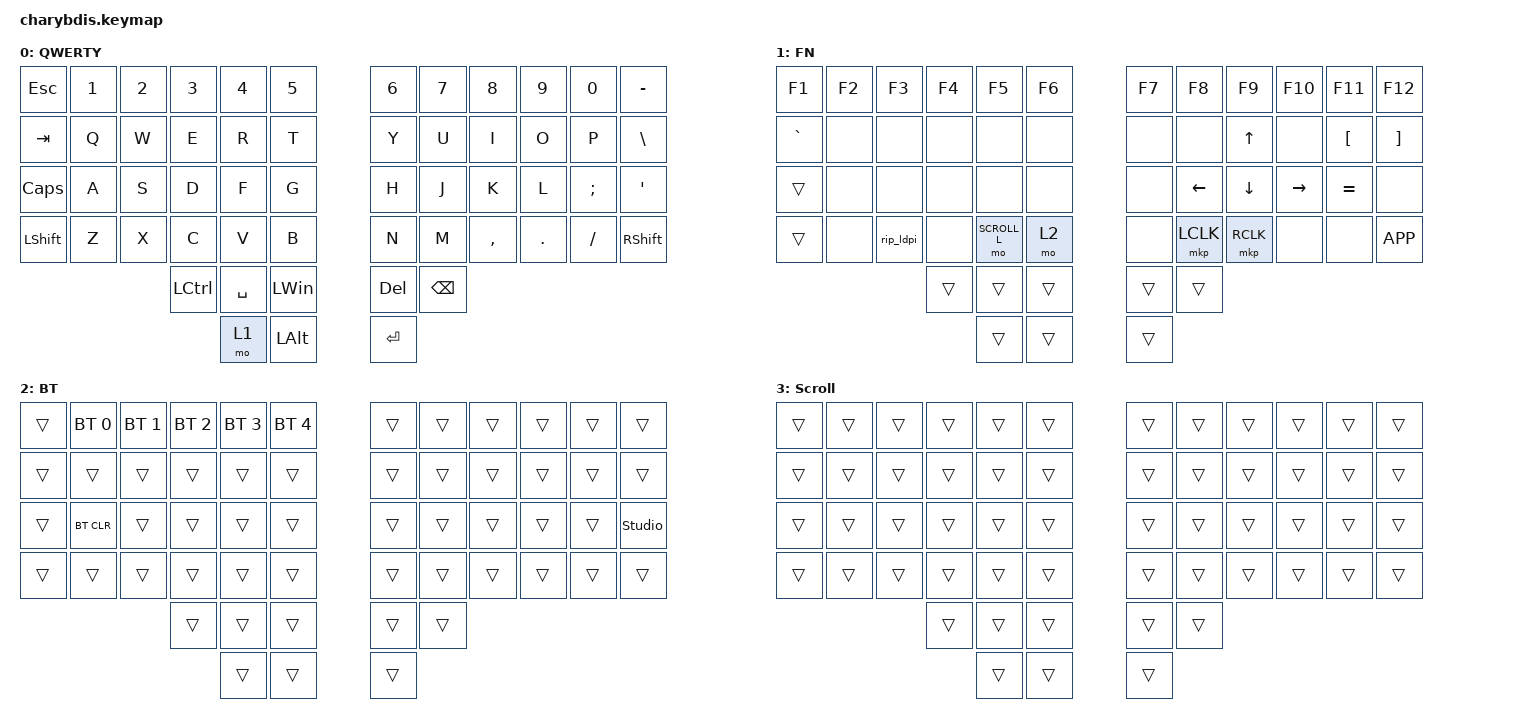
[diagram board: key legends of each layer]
#include <behaviors.dtsi>
#include <dt-bindings/zmk/bt.h>
#include <dt-bindings/zmk/keys.h>
#include <dt-bindings/zmk/pointing.h>
#include <input/processors.dtsi>
#include <input/processors/runtime-input-processor.dtsi>
#include <behaviors/runtime-input-processor.dtsi>
#include <behaviors/runtime_macro.dtsi>

&lt {
    tapping-term-ms = <150>;
    flavor = "tap-preferred";
    quick-tap-ms = <150>;
};

/* Indices are POSITIONAL:
 *   0 QWERTY  1 F_layers  2 BT_layers  3 scroll_gate
 *   4..7 extra1..extra4 -> reserved, fill in DYA Studio
 *
 * scroll_gate must stay at index 3: scroll_rip in charybdis_right.overlay
 * gates on bit 3 (<16>). Snipe needs no layer -- &rip_ldpi is the hotkey.
 * Studio cannot add layers beyond the declared count, so the number is fixed
 * at flash time; only the contents can be deferred. */
#define SCROLL_L  3
#define USER_1_L  4
#define USER_2_L  5
#define USER_3_L  6
#define USER_4_L  7

&sl {
    release-after-ms = <60000>;
};

/ {
    keymap {
        compatible = "zmk,keymap";

        QWERTY {
            display-name = "QWERTY";
            bindings = <
&kp ESC         &kp N1  &kp N2   &kp N3            &kp N4        &kp N5          &kp N6      &kp N7     &kp N8     &kp N9   &kp N0    &kp MINUS
&kp TAB         &kp Q   &kp W    &kp E             &kp R         &kp T           &kp Y       &kp U      &kp I      &kp O    &kp P     &kp BSLH
&kp CAPSLOCK    &kp A   &kp S    &kp D             &kp F         &kp G           &kp H       &kp J      &kp K      &kp L    &kp SEMI  &kp SQT
&kp LEFT_SHIFT  &kp Z   &kp X    &kp C             &kp V         &kp B           &kp N       &kp M      &kp COMMA  &kp DOT  &kp FSLH  &kp RIGHT_SHIFT
                                 &kp LEFT_CONTROL  &kp SPACE     &kp LEFT_WIN    &kp DELETE  &kp BACKSPACE
                                                   &mo 1         &kp LEFT_ALT    &kp ENTER
            >;
        };

        F_layers {
            display-name = "FN";
            bindings = <
&kp F1     &kp F2 &kp F3    &kp F4 &kp F5       &kp F6      &kp F7  &kp F8    &kp F9       &kp F10    &kp F11    &kp F12
&kp GRAVE  &none  &none     &none  &none        &none       &none   &none     &kp UP_ARROW &none      &kp LBKT   &kp RBKT
&trans     &none  &none     &none  &none        &none       &none   &kp LEFT  &kp DOWN     &kp RIGHT  &kp EQUAL  &none
&trans     &none  &rip_ldpi &none  &mo SCROLL_L &mo 2       &none   &mkp LCLK &mkp RCLK    &none      &none      &kp K_APP
                            &trans &trans       &trans      &trans  &trans
                                   &trans       &trans      &trans
            >;
        };

        BT_layers {
            display-name = "BT";
            bindings = <
&trans  &bt BT_SEL 0  &bt BT_SEL 1  &bt BT_SEL 2  &bt BT_SEL 3  &bt BT_SEL 4    &trans      &trans  &trans  &trans  &trans  &trans
&trans  &trans        &trans        &trans        &trans        &trans          &trans      &trans  &trans  &trans  &trans  &trans
&trans  &bt BT_CLR    &trans        &trans        &trans        &trans          &trans      &trans  &trans  &trans  &trans  &studio_unlock
&trans  &trans        &trans        &trans        &trans        &trans          &trans      &trans  &trans  &trans  &trans  &trans
                                    &trans        &trans        &trans          &trans      &trans
                                                  &trans        &trans          &trans
            >;
        };

        scroll_gate {
            display-name = "Scroll";
            bindings = <
&trans  &trans  &trans  &trans  &trans  &trans    &trans  &trans  &trans  &trans  &trans  &trans
&trans  &trans  &trans  &trans  &trans  &trans    &trans  &trans  &trans  &trans  &trans  &trans
&trans  &trans  &trans  &trans  &trans  &trans    &trans  &trans  &trans  &trans  &trans  &trans
&trans  &trans  &trans  &trans  &trans  &trans    &trans  &trans  &trans  &trans  &trans  &trans
                        &trans  &trans  &trans    &trans  &trans
                                &trans  &trans    &trans
            >;
        };

        extra1 { status = "reserved"; display-name = "User 1"; };
        extra2 { status = "reserved"; display-name = "User 2"; };
        extra3 { status = "reserved"; display-name = "User 3"; };
        extra4 { status = "reserved"; display-name = "User 4"; };
    };
};
